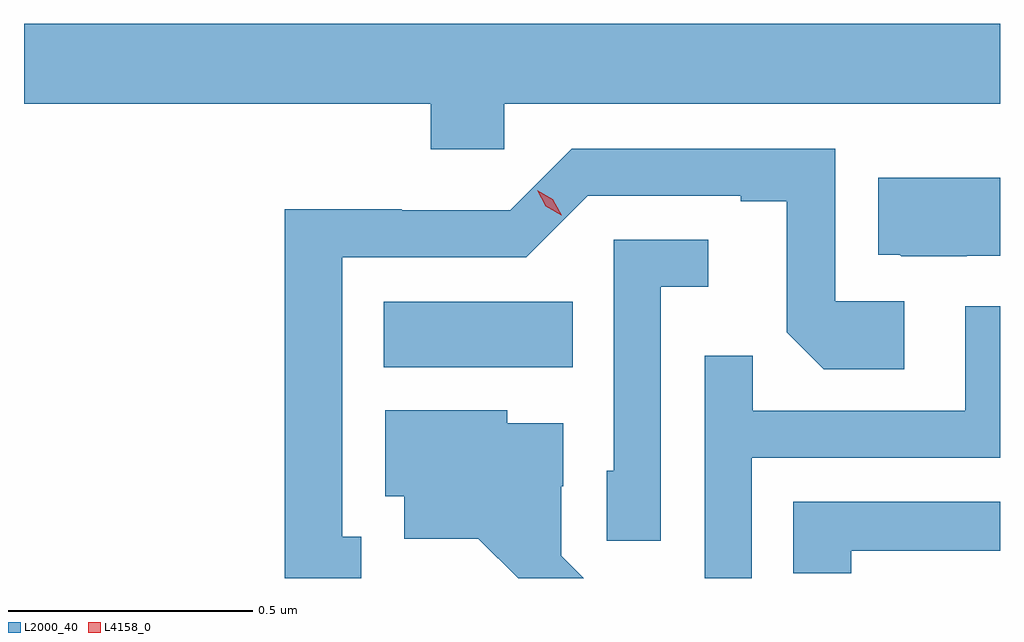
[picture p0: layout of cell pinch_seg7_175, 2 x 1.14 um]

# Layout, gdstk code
import gdstk
lib = gdstk.Library(unit=1e-6, precision=1e-09)
def R(c, l, rs):  # rectangles x0, y0, x1, y1
    for r in rs: c.add(gdstk.rectangle(r[:2], r[2:], *l))
def P(c, l, *ps):  # polygons
    for p in ps: c.add(gdstk.Polygon(p, *l))
L2000_40 = (2000, 40)
L4158_0 = (4158, 0)

pinch_seg7_175 = lib.new_cell('pinch_seg7_175')
R(pinch_seg7_175, L2000_40, [(1046.681,1034.708,1047.068,1034.842)])
P(pinch_seg7_175, L2000_40, [(1046.928,1035.248),(1047.944,1035.248),(1047.944,1035.412),(1045.944,1035.412),(1045.944,1035.248),(1046.777,1035.248),(1046.777,1035.155),(1046.928,1035.155)],
  [(1046.635,1034.361),(1046.596,1034.361),(1046.596,1034.934),(1046.973,1034.934),(1047.099,1035.06),(1047.413,1035.06),(1047.413,1035.048),(1047.507,1035.048),(1047.507,1034.78),(1047.583,1034.704),(1047.748,1034.704),(1047.748,1034.844),(1047.606,1034.844),(1047.606,1035.156),(1047.066,1035.156),(1046.94,1035.03),(1046.718,1035.03),(1046.718,1035.032),(1046.478,1035.032),(1046.478,1034.276),(1046.635,1034.276)],
  [(1047.876,1034.937),(1047.944,1034.937),(1047.944,1035.097),(1047.695,1035.097),(1047.695,1034.939),(1047.739,1034.939),(1047.742,1034.936),(1047.876,1034.936)],
  [(1047.249,1034.873),(1047.346,1034.873),(1047.346,1034.97),(1047.153,1034.97),(1047.153,1034.496),(1047.138,1034.496),(1047.138,1034.353),(1047.249,1034.353)],
  [(1047.435,1034.523),(1047.944,1034.523),(1047.944,1034.833),(1047.873,1034.833),(1047.873,1034.619),(1047.437,1034.619),(1047.437,1034.732),(1047.339,1034.732),(1047.339,1034.276),(1047.435,1034.276)],
  [(1047.045,1034.322),(1047.045,1034.464),(1047.049,1034.464),(1047.049,1034.593),(1046.934,1034.593),(1046.934,1034.62),(1046.684,1034.62),(1046.684,1034.444),(1046.723,1034.444),(1046.723,1034.357),(1046.875,1034.357),(1046.957,1034.276),(1047.091,1034.276)],
  [(1047.639,1034.332),(1047.944,1034.332),(1047.944,1034.433),(1047.52,1034.433),(1047.52,1034.286),(1047.639,1034.286)])
P(pinch_seg7_175, L4158_0, [(1047.045,1035.02),(1047.013,1035.038),(1046.996,1035.071),(1046.996,1035.071),(1046.996,1035.071),(1047.028,1035.052),(1047.046,1035.02),(1047.046,1035.02)])

lib.write_gds('pinch_seg7_175.gds')
